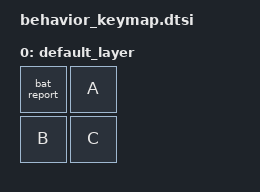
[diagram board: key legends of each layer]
/*
 * Copyright (c) 2025 The ZMK Contributors
 *
 * SPDX-License-Identifier: MIT
 */

#include <dt-bindings/zmk/keys.h>
#include <behaviors.dtsi>
#include <dt-bindings/zmk/kscan_mock.h>

/ {
    behaviors {
        bat_report: bat_report {
            compatible = "zmk,behavior-battery-report";
            #binding-cells = <0>;
        };
    };

    keymap {
        compatible = "zmk,keymap";
        default_layer {
            bindings = <
                &bat_report &kp A
                &kp B       &kp C
            >;
        };
    };
};
